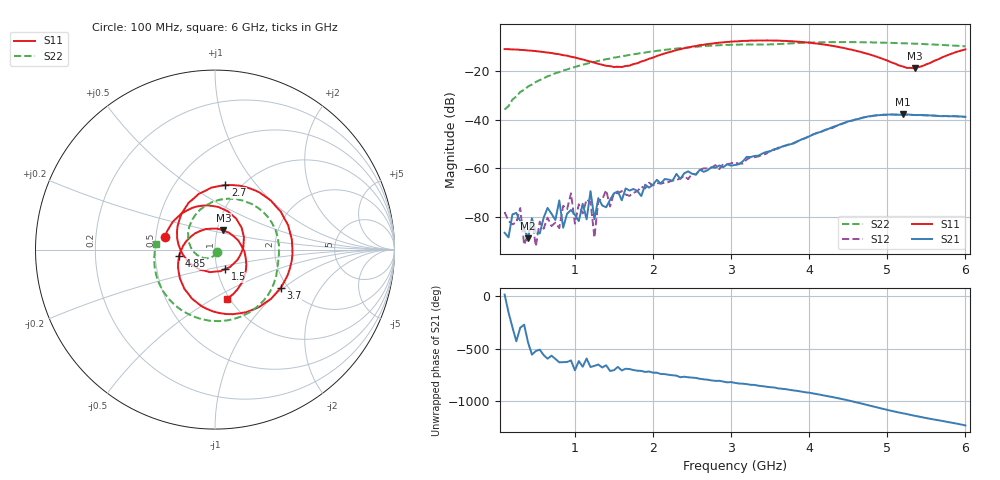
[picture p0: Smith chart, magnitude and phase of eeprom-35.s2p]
! Created with skrf 2.0.0 (http://scikit-rf.org).
# Hz S RI R 50.0
!freq ReS11 ImS11 ReS21 ImS21 ReS12 ImS12 ReS22 ImS22
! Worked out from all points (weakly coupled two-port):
!   119 points, 100 MHz to 6 GHz, reference 50 ohm
!   highest |S21| = -37.83 dB at 5.2 GHz (marker M1); lowest = -89.0 dB at 400 MHz (marker M2)
!   lowest |S11| = -18.7 dB at 5.35 GHz (marker M3), VSWR 1.26, Z = 53.6 + j11.6 ohm
!   |S11| at or under -10 dB: start of sweep to 2.475 GHz; 4.38 GHz to end of sweep
!   |S22| runs from -35.8 to -7.9 dB; largest |S21 - S12| = 0.0003
!   S11 on the Smith chart (normalised r, x): 100 MHz: 0.56, +0.08; 1.5 GHz: 1.09, -0.24; 2.7 GHz: 0.85, +0.71; 3.7 GHz: 1.84, -0.95; 4.85 GHz: 0.67, -0.05; 6 GHz: 0.97, -0.58
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1e8  -0.2787 0.0675  4.54e-05 9.92e-06  -0.000124 1.19e-05  0.00853 -0.0138
4e8  -0.1609 0.2155  5.1e-06 -3.52e-05  1.13e-05 4.07e-05  -0.0218 -0.0433
7.5e8  0.0468 0.2246  -4.45e-05 7.27e-05  -8.24e-06 -7.47e-05  -0.0812 -0.0418
8e8  0.0733 0.2125  3.27e-06 0.000217  5.71e-05 -1.04e-05  -0.0891 -0.0356
9.5e8  0.1315 0.1499  -4.05e-05 0.000131  -1.93e-05 0.000304  -0.116 -0.0153
1e9  0.1475 0.1239  0.000106 2.6e-05  6.54e-06 7.12e-05  -0.122 -0.0074
1.1e9  0.1612 0.0696  0.000125 0.000135  3.18e-05 0.000112  -0.1353 0.0136
1.15e9  0.16 0.0442  -5.09e-05 7.19e-05  0.000176 0.000143  -0.1401 0.027
1.2e9  0.1579 0.0143  0.000239 0.000236  -1.8e-05 0.000197  -0.1449 0.0383
1.25e9  0.1501 -0.00972  4.97e-05 7.33e-05  -1.83e-06 3.7e-05  -0.1463 0.053
1.3e9  0.1375 -0.0373  8.83e-05 0.000224  0.000187 0.000107  -0.15 0.0659
1.5e9  0.0556 -0.109  0.000293 7.53e-05  0.000245 0.00018  -0.1439 0.1261
2.1e9  -0.2108 0.0623  0.000447 -0.000176  0.00041 -0.000255  -0.000982 0.2692
2.7e9  0.0571 0.3597  0.000221 -0.000881  0.000223 -0.00097  0.2413 0.2316
3.05e9  0.3124 0.2719  -0.000312 -0.00112  -0.000364 -0.00127  0.3379 0.1083
3.7e9  0.3665 -0.2131  -0.00283 -0.00074  -0.00287 -0.000728  0.3407 -0.1492
4.05e9  0.1376 -0.3551  -0.00444 0.00216  -0.0045 0.0022  0.2663 -0.2894
4.85e9  -0.2 -0.036  0.0111 0.00527  0.0111 0.00519  -0.0996 -0.3794
5.05e9  -0.1354 0.0714  0.0126 -0.00241  0.0126 -0.0024  -0.1863 -0.3375
5.2e9  -0.0513 0.1146  0.0106 -0.00723  0.0106 -0.00713  -0.2412 -0.2914
5.35e9  0.0465 0.1067  0.00664 -0.0106  0.00652 -0.0107  -0.2855 -0.2376
6e9  0.0656 -0.2749  -0.00993 -0.0058  -0.00973 -0.0058  -0.3264 0.0287
